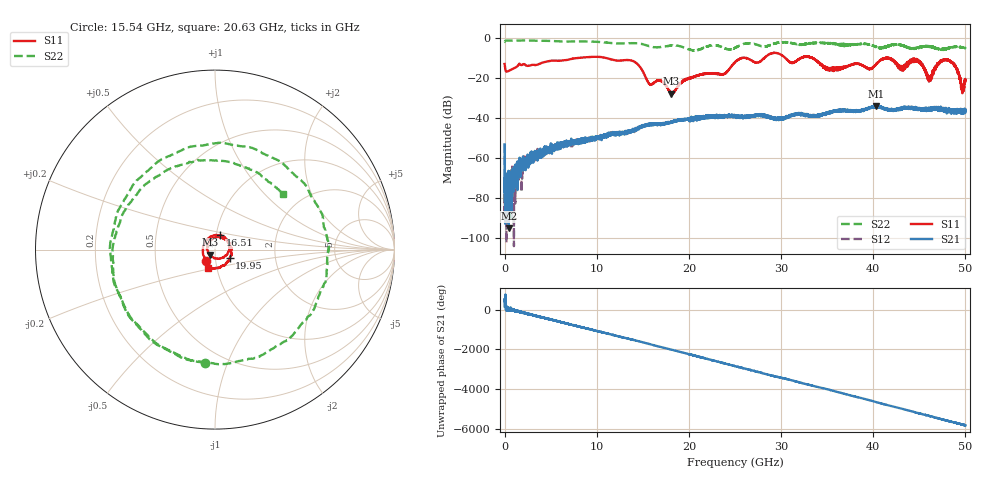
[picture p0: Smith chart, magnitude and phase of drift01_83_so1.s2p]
!Created with skrf (http://scikit-rf.org).
# Hz S RI R 50.0
!freq ReS11 ImS11 ReS21 ImS21 ReS12 ImS12 ReS22 ImS22
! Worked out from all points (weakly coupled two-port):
!   10001 points, 300 kHz to 50 GHz, reference 50 ohm
!   highest |S21| = -34.02 dB at 40.3 GHz (marker M1); lowest = -95.0 dB at 455.3 MHz (marker M2)
!   lowest |S11| = -27.9 dB at 18.09 GHz (marker M3), VSWR 1.08, Z = 47.1 - j2.63 ohm
!   |S11| at or under -10 dB: start of sweep to 8.033 GHz; 10.91 GHz to 25.86 GHz (14.95 GHz wide, 81.3 % of centre); 41.69 GHz to end of sweep (the widest 3 of 20)
!   |S22| runs from -6.4 to -1.3 dB; largest |S21 - S12| = 0.0038
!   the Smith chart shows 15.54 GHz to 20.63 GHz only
!   S11 on the Smith chart (normalised r, x): 15.54 GHz: 0.90, -0.11; 16.51 GHz: 1.04, +0.17; 19.95 GHz: 1.17, -0.11; 20.63 GHz: 0.91, -0.19
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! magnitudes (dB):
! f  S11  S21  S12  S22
! 300 kHz  -13.1  -53.2  -52.9  -2.1
! 255.3 MHz  -16.9  -74.8  -77.4  -1.4
! 455.3 MHz  -16.5  -95.0  -73.3  -1.4
! 2.905 GHz  -13.6  -60.6  -60.4  -1.4
! 8.335 GHz  -9.9  -51.7  -52.1  -1.8
! 13.86 GHz  -11.5  -46.8  -46.3  -2.7
! 15.54 GHz  -21.8  -43.2  -43.0  -4.0
! 16.51 GHz  -21.5  -42.6  -43.0  -4.8
! 16.67 GHz  -21.3  -43.2  -43.1  -4.8
! 18.09 GHz  -27.9  -42.3  -41.9  -3.9
! 19.95 GHz  -20.5  -40.8  -40.5  -5.7
! 20.63 GHz  -19.4  -40.1  -40.9  -6.3
! 25 GHz  -12.2  -39.3  -39.0  -5.0
! 33.34 GHz  -10.0  -38.7  -38.9  -2.7
! 35.34 GHz  -15.5  -37.1  -37.1  -2.6
! 40.3 GHz  -13.3  -34.0  -34.2  -4.5
! 41.67 GHz  -10.1  -35.9  -36.1  -4.0
! 43.03 GHz  -14.6  -35.4  -35.4  -3.8
! 44.82 GHz  -11.5  -35.3  -35.3  -5.0
! 46.13 GHz  -19.8  -35.4  -35.5  -4.4
! 48.06 GHz  -11.2  -36.2  -36.4  -5.3
! 50 GHz  -20.9  -37.1  -36.7  -5.3
